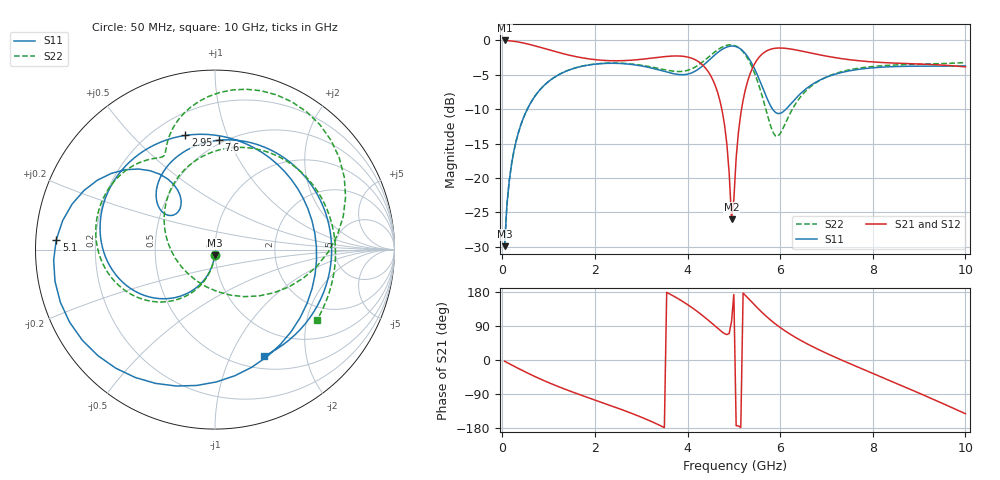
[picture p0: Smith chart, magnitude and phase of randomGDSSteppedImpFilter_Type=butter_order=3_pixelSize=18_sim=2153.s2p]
! freq	dB(S11)	phase(S11)	dB(S12)	phase(S12)
!  dB(S21)	phase(S21)	dB(S22)	phase(S22)
!S-par simulation data
#  GHz  S  DB  R 50
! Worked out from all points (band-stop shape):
!   200 points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, 50 MHz to 10 GHz, reference 50 ohm
!   highest |S21| = -0.01 dB at 50 MHz (marker M1); lowest = -26.0 dB at 4.95 GHz (marker M2)
!   |S21| within 3 dB of the highest: start of sweep to 4.217 GHz; 5.485 GHz to 7.782 GHz (2.297 GHz wide, 34.6 % of centre)
!   lowest |S11| = -29.9 dB at 50 MHz (marker M3), VSWR 1.07, Z = 49.7 - j3.18 ohm
!   |S11| at or under -10 dB: start of sweep to 539.9 MHz; 5.838 GHz to 6.124 GHz (285.8 MHz wide, 4.78 % of centre)
!   |S22| runs from -29.9 to -0.6 dB; largest |S21 - S12| = 0
!   S11 on the Smith chart (normalised r, x): 50 MHz: 0.99, -0.06; 2.95 GHz: 0.32, +0.72; 5.1 GHz: 0.06, +0.03; 7.6 GHz: 0.47, +0.92; 10 GHz: 0.65, -1.34
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0.05  -29.90 -93.4  -0.01 -3.3  -0.01 -3.3  -29.90 -93.2
0.2  -17.98 -103.7  -0.09 -13.0  -0.09 -13.0  -17.97 -102.9
0.5  -10.57 -123.3  -0.44 -31.7  -0.44 -31.7  -10.56 -121.0
1.75  -3.72 169.3  -2.56 -94.9  -2.56 -94.9  -3.70 179.9
2.95  -3.64 104.5  -2.79 -148.3  -2.79 -148.3  -3.55 138.5
3.4  -4.33 68.9  -2.44 -172.4  -2.44 -172.4  -4.11 126.3
4.15  -4.53 -30.3  -2.76 133.5  -2.76 133.5  -3.93 115.2
4.45  -2.96 -81.0  -4.58 104.8  -4.58 104.8  -2.43 105.4
4.7  -1.52 -122.0  -8.78 78.6  -8.78 78.6  -1.15 88.3
4.85  -0.96 -145.7  -15.11 67.0  -15.11 67.0  -0.71 73.8
4.95  -0.82 -161.2  -25.98 101.7  -25.98 101.7  -0.65 62.5
5.05  -0.91 -176.3  -17.08 -173.5  -17.08 -173.5  -0.83 50.0
5.1  -1.05 176.4  -13.30 -174.0  -13.30 -174.0  -1.03 43.3
5.35  -2.90 143.6  -4.88 157.8  -4.88 157.8  -3.27 6.8
5.65  -7.33 122.4  -1.77 120.9  -1.77 120.9  -9.00 -46.7
5.9  -10.47 130.7  -1.14 94.9  -1.14 94.9  -13.89 -120.1
6.1  -10.16 142.3  -1.14 77.3  -1.14 77.3  -12.23 -178.8
6.7  -6.36 131.9  -1.89 35.3  -1.89 35.3  -6.50 111.7
7.6  -4.30 88.0  -2.89 -14.6  -2.89 -14.6  -4.14 59.9
8.35  -3.84 46.5  -3.26 -53.3  -3.26 -53.3  -3.62 26.2
9.2  -3.74 -7.6  -3.49 -98.0  -3.49 -98.0  -3.43 -6.9
10  -3.70 -65.5  -3.85 -141.7  -3.85 -141.7  -3.22 -34.9
